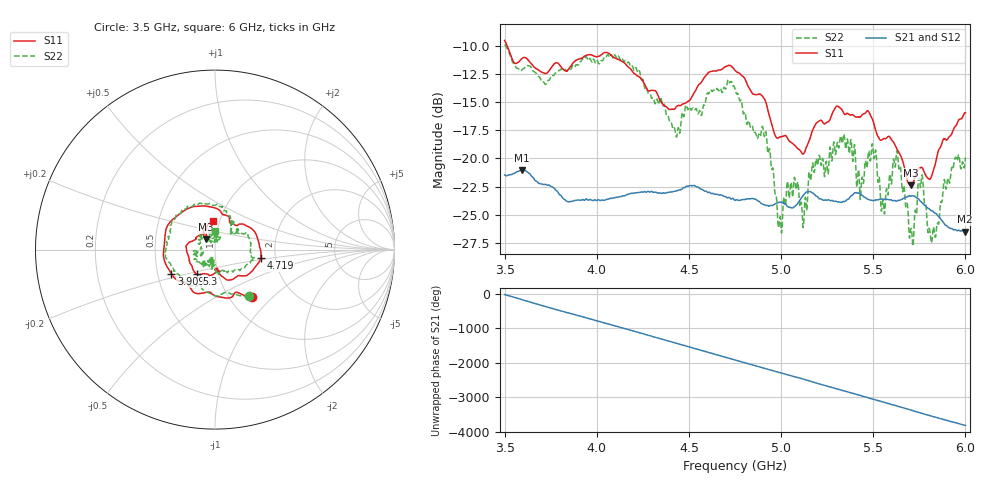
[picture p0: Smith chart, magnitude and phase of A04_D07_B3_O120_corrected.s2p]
! Created with skrf 1.9.0 (http://scikit-rf.org).
# Hz S RI R 50.0
!freq ReS11 ImS11 ReS21 ImS21 ReS12 ImS12 ReS22 ImS22
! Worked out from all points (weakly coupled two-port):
!   1601 points, 3.5 GHz to 6 GHz, reference 50 ohm
!   highest |S21| = -21.02 dB at 3.592 GHz (marker M1); lowest = -26.5 dB at 5.995 GHz (marker M2)
!   lowest |S11| = -22.4 dB at 5.705 GHz (marker M3), VSWR 1.16, Z = 44.9 + j5.12 ohm
!   |S11| at or under -10 dB: 3.514 GHz to end of sweep
!   |S22| runs from -27.8 to -9.9 dB; largest |S21 - S12| = 0.0011
!   S11 on the Smith chart (normalised r, x): 3.5 GHz: 1.28, -0.75; 3.909 GHz: 0.59, -0.17; 4.719 GHz: 1.68, -0.16; 5.3 GHz: 0.79, -0.22; 6 GHz: 0.93, +0.31
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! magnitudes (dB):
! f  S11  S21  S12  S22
! 3.5 GHz  -9.5  -21.5  -21.5  -9.9
! 3.592 GHz  -11.1  -21.0  -21.0  -12.2
! 3.909 GHz  -11.1  -23.7  -23.7  -11.4
! 3.917 GHz  -11.1  -23.7  -23.7  -11.3
! 4.334 GHz  -14.5  -23.1  -23.0  -15.2
! 4.439 GHz  -15.3  -22.9  -22.8  -17.5
! 4.719 GHz  -11.7  -23.5  -23.5  -13.3
! 4.75 GHz  -12.2  -23.7  -23.7  -13.9
! 4.909 GHz  -14.7  -24.1  -24.1  -18.1
! 4.994 GHz  -18.1  -23.9  -23.9  -25.3
! 5.08 GHz  -18.9  -24.2  -24.2  -22.5
! 5.128 GHz  -19.4  -23.1  -23.2  -24.0
! 5.167 GHz  -17.7  -23.0  -23.0  -20.9
! 5.3 GHz  -15.4  -23.8  -23.8  -19.1
! 5.553 GHz  -18.3  -23.6  -23.6  -23.7
! 5.584 GHz  -18.0  -23.7  -23.6  -22.4
! 5.636 GHz  -19.4  -23.7  -23.7  -20.4
! 5.705 GHz  -22.4  -23.4  -23.3  -26.3
! 5.756 GHz  -20.8  -23.8  -23.8  -22.6
! 5.825 GHz  -21.2  -24.7  -24.7  -26.2
! 5.995 GHz  -16.0  -26.5  -26.5  -20.7
! 6 GHz  -15.9  -26.5  -26.5  -19.9
